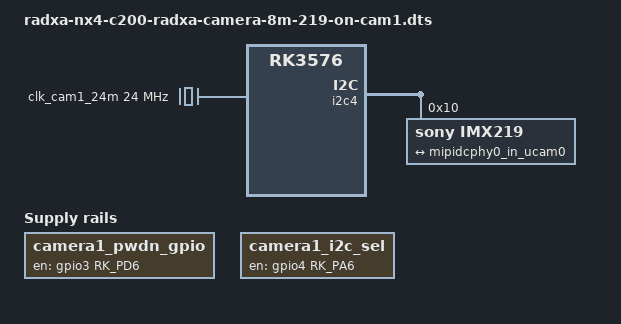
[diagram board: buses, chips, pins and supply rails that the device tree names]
/dts-v1/;
/plugin/;

#include <dt-bindings/gpio/gpio.h>
#include <dt-bindings/pinctrl/rockchip.h>
#include <rk3576-csi2_dcphy0.dtsi>

/ {
	metadata {
		title ="Enable Radxa Camera 8M 219 on CAM1";
		compatible = "radxa,nx4-c200";
		category = "camera";
		exclusive = "GPIO3_D6", "csi2_dcphy0", "i2c4@10";
		description = "Enable Radxa Camera 8M 219 on CAM1.";
	};
};

&{/} {
	camera1_pwdn_gpio: camera1-pwdn-gpio {
		compatible = "regulator-fixed";
		regulator-name = "camera1_pwdn_gpio";
		regulator-always-on;
		regulator-boot-on;
		enable-active-high;
		gpio = <&gpio3 RK_PD6 GPIO_ACTIVE_HIGH>;
		pinctrl-names = "default";
		pinctrl-0 = <&cam1_pwdn_gpio>;
	};

	camera1_i2c_sel: camera1-i2c-sel {
		compatible = "regulator-fixed";
		regulator-name = "camera1_i2c_sel";
		regulator-always-on;
		regulator-boot-on;
		enable-active-high;
		gpio = <&gpio4 RK_PA6 GPIO_ACTIVE_HIGH>;
		pinctrl-names = "default";
		pinctrl-0 = <&cam1_i2c_sel_gpio>;
	};

	clk_cam1_24m: external-camera1-clock-24m {
		compatible = "fixed-clock";
		clock-frequency = <24000000>;
		clock-output-names = "clk_cam1_24m";
		#clock-cells = <0>;
	};
};

&i2c4 {
	status = "okay";
	pinctrl-0 = <&i2c4m2_xfer>;
	#address-cells = <1>;
	#size-cells = <0>;

	imx219: imx219@10 {
		status = "okay";
		compatible = "sony,imx219";
		reg = <0x10>;
		clocks = <&clk_cam1_24m>;
		clock-names = "xvclk";
		rockchip,camera-module-index = <0>;
		rockchip,camera-module-facing = "back";
		rockchip,camera-module-name = "RADXA-CAMERA-8M";
		rockchip,camera-module-lens-name = "default";

		port {
			mipidcphy0_out0: endpoint {
				remote-endpoint = <&mipidcphy0_in_ucam0>;
				data-lanes = <1 2>;
			};
		};
	};
};

&pinctrl {
	camera {
		cam1_pwdn_gpio: cam1-pwdn-gpio {
			rockchip,pins = <3 RK_PD6 RK_FUNC_GPIO &pcfg_pull_up>;
		};

		cam1_i2c_sel_gpio: cam1-i2c-sel-gpio {
			rockchip,pins = <4 RK_PA6 RK_FUNC_GPIO &pcfg_pull_up>;
		};
	};
};
